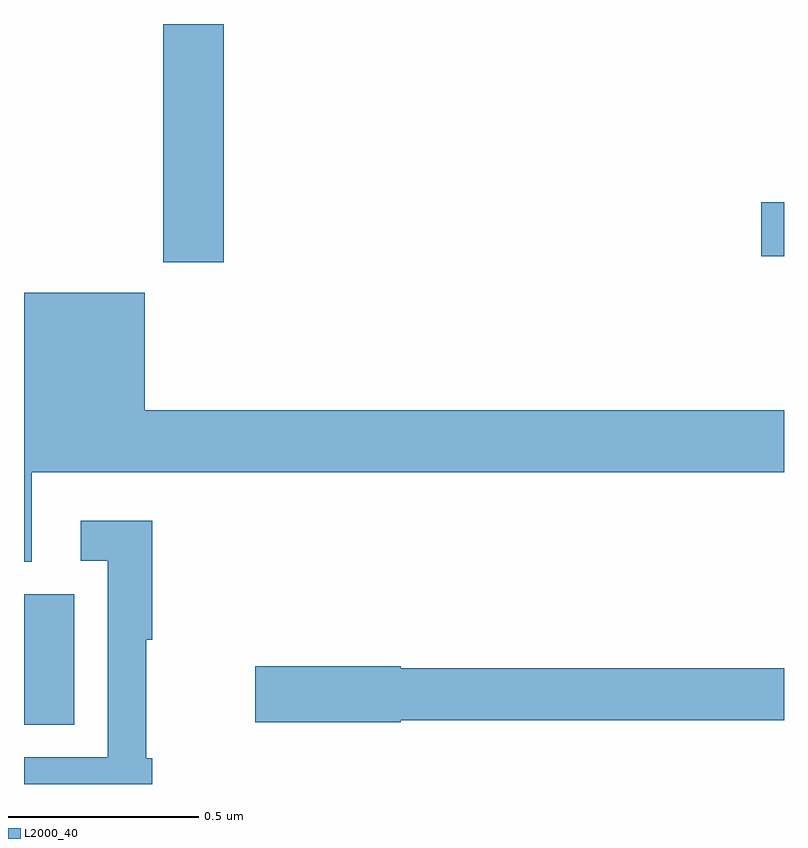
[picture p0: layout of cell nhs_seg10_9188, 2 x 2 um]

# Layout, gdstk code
import gdstk
lib = gdstk.Library(unit=1e-6, precision=1e-09)
def R(c, l, rs):  # rectangles x0, y0, x1, y1
    for r in rs: c.add(gdstk.rectangle(r[:2], r[2:], *l))
def P(c, l, *ps):  # polygons
    for p in ps: c.add(gdstk.Polygon(p, *l))
L2000_40 = (2000, 40)

nhs_seg10_9188 = lib.new_cell('nhs_seg10_9188')
R(nhs_seg10_9188, L2000_40, [(226,1295.656,226.132,1296), (226.366,1296.873,226.526,1297.5), (227.94,1296.889,228,1297.031)])
P(nhs_seg10_9188, L2000_40, [(226.021,1296.32),(228,1296.32),(228,1296.484),(226.318,1296.484),(226.318,1296.793),(226,1296.793),(226,1296.085),(226.021,1296.085)],
  [(226.337,1295.568),(226.322,1295.568),(226.322,1295.88),(226.337,1295.88),(226.337,1296.193),(226.149,1296.193),(226.149,1296.087),(226.221,1296.087),(226.221,1295.571),(226,1295.571),(226,1295.5),(226.337,1295.5)],
  [(226.992,1295.668),(228,1295.668),(228,1295.804),(226.992,1295.804),(226.992,1295.81),(226.608,1295.81),(226.608,1295.663),(226.992,1295.663)])

lib.write_gds('nhs_seg10_9188.gds')
